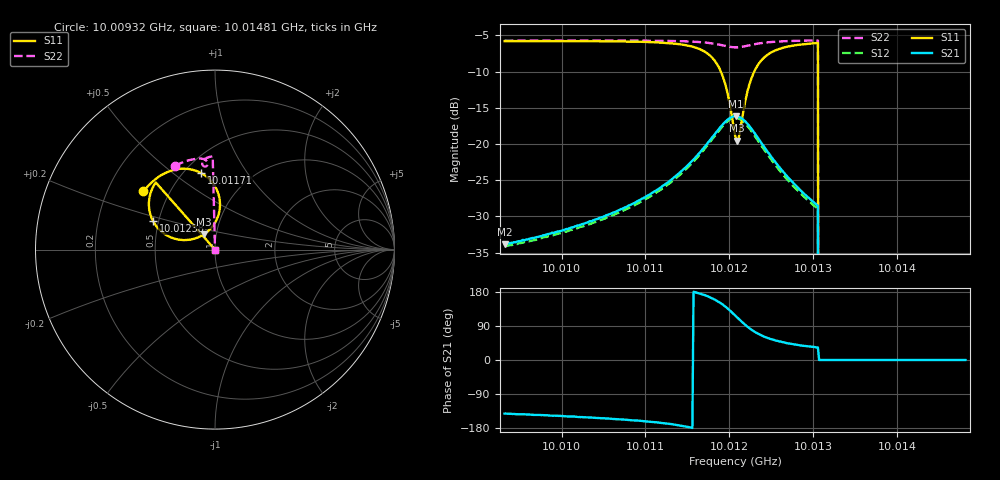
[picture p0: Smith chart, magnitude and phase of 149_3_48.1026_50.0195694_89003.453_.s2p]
#  HZ  S  RI  R  50.00
! Rohde & Schwarz Vector Network Analyzer
! Rohde-Schwarz,ZNB20-2Port,1311601062101988,3.16
! Created: UTC 12/23/2023, 3:49:34 AM
! freq[Hz]  re:S11  im:S11  re:S21  im:S21  re:S12  im:S12  re:S22  im:S22
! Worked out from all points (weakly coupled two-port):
!   401 points, 10.00932 GHz to 10.01481 GHz, reference 50 ohm
!   highest |S21| = -16.15 dB at 10.01208 GHz (marker M1); lowest = -33.8 dB at 10.00932 GHz (marker M2)
!   lowest |S11| = -19.6 dB at 10.0121 GHz (marker M3), VSWR 1.24, Z = 43.6 + j7.53 ohm
!   |S11| at or under -10 dB: 10.0119 GHz to 10.0123 GHz (397.1 kHz wide, 0.00397 % of centre); 10.01306 GHz to end of sweep
!   |S22| runs from - to -5.7 dB; largest |S21 - S12| = 0.008
!   S11 on the Smith chart (normalised r, x): 10.00932 GHz: 0.36, +0.31; 10.01171 GHz: 0.60, +0.64; 10.01238 GHz: 0.47, +0.17; 10.01481 GHz: 1.00, +0.00
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1.0009321e10  -0.3995 0.324  -0.0159 -0.0126  -0.0148 -0.013  -0.2219 0.4676
1.0010241e10  -0.3446 0.3815  -0.0243 -0.0138  -0.0228 -0.0144  -0.1655 0.4914
1.0010708e10  -0.3046 0.4113  -0.0327 -0.0141  -0.0305 -0.0149  -0.1345 0.5007
1.0011161e10  -0.2449 0.4396  -0.0476 -0.0125  -0.0453 -0.0142  -0.1016 0.5065
1.001145e10  -0.1799 0.4509  -0.0662 -0.0064  -0.0635 -0.00971  -0.0778 0.5072
1.0011711e10  -0.0774 0.4265  -0.0952 0.0151  -0.093 0.01  -0.0537 0.4998
1.0011834e10  -0.0123 0.3706  -0.1102 0.0437  -0.1092 0.0368  -0.0434 0.4898
1.0011917e10  0.022 0.2984  -0.1139 0.0736  -0.1142 0.0666  -0.0401 0.4797
1.0011985e10  0.0245 0.2147  -0.1047 0.105  -0.1065 0.0978  -0.0424 0.4701
1.0012068e10  -0.0296 0.1115  -0.0724 0.1378  -0.0759 0.1313  -0.0521 0.4629
1.0012081e10  -0.0448 0.0977  -0.0654 0.1413  -0.0687 0.1351  -0.0541 0.4626
1.0012095e10  -0.0615 0.0854  -0.0582 0.1441  -0.0613 0.1378  -0.0562 0.4625
1.0012123e10  -0.0976 0.0668  -0.043 0.1473  -0.0465 0.1416  -0.0605 0.4634
1.0012191e10  -0.192 0.0544  -0.00577 0.1431  -0.0103 0.138  -0.0684 0.4696
1.0012246e10  -0.2556 0.0725  0.0169 0.1305  0.0118 0.1261  -0.0712 0.477
1.0012384e10  -0.3449 0.1582  0.0431 0.0919  0.038 0.0894  -0.0672 0.494
1.0012603e10  -0.3678 0.2691  0.0451 0.0514  0.041 0.0507  -0.0495 0.5094
1.0012988e10  -0.3368 0.3641  0.0331 0.0232  0.0305 0.0235  -0.0181 0.5189
1.0013029e10  -0.3327 0.3703  0.0322 0.0215  0.0295 0.0219  -0.0149 0.5193
1.0013098e10  0 0  0 0  0 0  0 0
1.0013908e10  0 0  0 0  0 0  0 0
1.0014814e10  0 0  0 0  0 0  0 0
